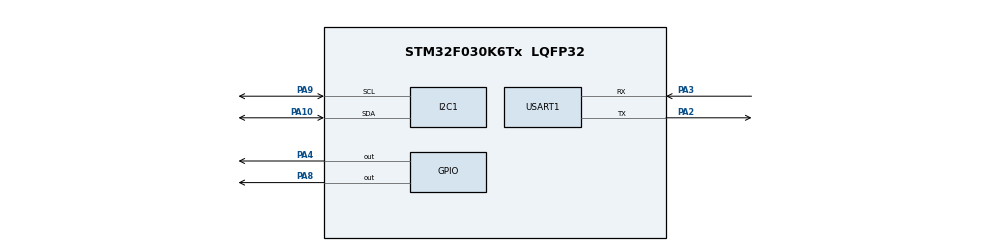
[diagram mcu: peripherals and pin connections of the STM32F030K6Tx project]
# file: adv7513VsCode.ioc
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I2C1.Timing=0x00201D2B
Mcu.Family=STM32F0
Mcu.Name=STM32F030K6Tx
Mcu.Package=LQFP32
PA10.Mode=I2C
PA10.Signal=I2C1_SDA
PA2.Mode=Asynchronous
PA2.Signal=USART1_TX
PA3.Mode=Asynchronous
PA3.Signal=USART1_RX
PA4.Signal=GPIO_Output
PA8.Signal=GPIO_Output
PA9.Mode=I2C
PA9.Signal=I2C1_SCL
ProjectManager.HeapSize=0x200
ProjectManager.StackSize=0x400
ProjectManager.TargetToolchain=Makefile
USART1.VirtualMode-Asynchronous=VM_ASYNC
board=custom

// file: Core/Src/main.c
/* USER CODE BEGIN Header */
/**
  ******************************************************************************
  * @file           : main.c
  * @brief          : Main program body
  ******************************************************************************
  * @attention
  *
  * Copyright (c) 2026 STMicroelectronics.
  * All rights reserved.
  *
  * This software is licensed under terms that can be found in the LICENSE file
  * in the root directory of this software component.
  * If no LICENSE file comes with this software, it is provided AS-IS.
  *
  ******************************************************************************
  */
/* USER CODE END Header */
#include "main.h"
#include <stdio.h>

/* USER CODE BEGIN PD */
#define ADV7513_ADDR  0x72

//Fixed Registers That Must Be Set

#define PLL_0_ADDR 0x98
#define PLL_0_VAL  0x03

#define PLL_1_ADDR 0x9A
#define PLL_1_VAL  0xE0

#define PLL_2_ADDR 0x9C
#define PLL_2_VAL  0x30

#define PLL_3_ADDR 0x9D
#define PLL_3_VAL  0x01

#define PLL_4_ADDR 0xA2
#define PLL_4_VAL  0xA4

#define PLL_5_ADDR 0xA3
#define PLL_5_VAL  0xA4

#define PLL_6_ADDR 0xE0
#define PLL_6_VAL  0xD0

#define PLL_7_ADDR 0xF9
#define PLL_7_VAL  0x00

// RGB888 -> HDMI INIT

#define VIDEO_INPUT_ADDR   0x15
#define VIDEO_INPUT_VAL    0x00

#define OUTPUT_FORMAT_ADDR 0x16
#define OUTPUT_FORMAT_VAL  0x30

#define POLARITY_ADDR      0x17
#define POLARITY_VAL       0x00

#define POWER_UP_ADDR      0x41
#define POWER_UP_VAL       0x10

#define TMDS_OUTPUT_ADDR   0x40
#define TMDS_OUTPUT_ENABLE 0x80

#define MODE_ADDR          0xAF
#define MODE_DVI_ENABLE    0x00
#define MODE_HDMI_ENABLE   0x02

#define AVI_INFOFRAME_ADDR 0x55
#define AVI_INFOFRAME_VAL  0x10   // RGB 4:4:4

#define AVI_ASPECT_ADDR    0x56
#define AVI_ASPECT_VAL     0x20   // 16:9
#define AUTO_CKSUM_ADDR    0x4A
#define AUTO_CKSUM_VAL     0x80   // Auto Checksum Enable

// --- Определения для ADV7513 ---
#define ADV7513_MAIN_ADDR        0x72  // Основной I2C адрес ADV7513
#define ADV7513_EDID_MEM_ADDR    0x7E  // Адрес внутренней памяти EDID (по умолчанию)
#define EDID_BLOCK_SIZE          256   // Размер одного сегмента в байтах

// --- Регистры ADV7513 (Main Map) ---
#define REG_EDID_SEGMENT         0xC4  // Регистр выбора сегмента EDID
#define REG_EDID_RDY_FLAG        0x96  // Регистр флага готовности EDID
#define REG_EDID_MEM_ADDR        0x43  // Регистр адреса памяти EDID

/* USER CODE END PD */

I2C_HandleTypeDef hi2c1;

UART_HandleTypeDef huart1;

void SystemClock_Config(void);
static void MX_GPIO_Init(void);
static void MX_I2C1_Init(void);
static void MX_USART1_UART_Init(void);
void ADV7513_Full_Diagnostics(void);
void ADV7513_Read_Interrupts(void);
HAL_StatusTypeDef ADV7513_ReadEDIDSegment(I2C_HandleTypeDef *hi2c_dev, uint8_t segment, uint8_t *edid_buffer, uint32_t timeout_ms);

int main(void)
{

  /* MCU Configuration--------------------------------------------------------*/

  /* Reset of all peripherals, Initializes the Flash interface and the Systick. */
  HAL_Init();

  /* Configure the system clock */
  SystemClock_Config();

  /* USER CODE BEGIN SysInit */
  HAL_Delay(200);
  /* USER CODE END SysInit */

  /* Initialize all configured peripherals */
  MX_GPIO_Init();
  MX_I2C1_Init();
  MX_USART1_UART_Init();
  /* USER CODE BEGIN 2 */
  uint8_t edid_data[EDID_BLOCK_SIZE];
  ADV7513_PowerInit();
  ADV7513_HDMI_Init();

  // ADV7513_WriteVerifyReg(0xD6, 0x80, "HPD ON");
  // ADV7513_WriteVerifyReg(0x41, 0x00, "POWER TX ON");
  // uint8_t read_val = 0;
  // HAL_StatusTypeDef status = HAL_I2C_Mem_Read(&hi2c1, ADV7513_ADDR, 0x3E, I2C_MEMADD_SIZE_8BIT, &read_val, 1, HAL_MAX_DELAY);
  // // if(read_val== 0){
  // //   Error_Handler();
  // // }

  // status = HAL_I2C_Mem_Read(&hi2c1, ADV7513_ADDR, 0x17, I2C_MEMADD_SIZE_8BIT, &read_val, 1, HAL_MAX_DELAY);
  // if(read_val==0){
  //   Error_Handler();
  // }

  ADV7513_ReadEDIDSegment(&hi2c1,0, edid_data, HAL_MAX_DELAY);

  ADV7513_Full_Diagnostics();
  /* USER CODE END 2 */

  /* Infinite loop */
    while (1)
  {
     /* USER CODE BEGIN WHILE */

      // ADV7513_Read_Interrupts();
      __WFI();

    /* USER CODE END WHILE */

  }

}

void SystemClock_Config(void)
{
  RCC_OscInitTypeDef RCC_OscInitStruct = {0};
  RCC_ClkInitTypeDef RCC_ClkInitStruct = {0};
  RCC_PeriphCLKInitTypeDef PeriphClkInit = {0};

  /** Initializes the RCC Oscillators according to the specified parameters
  * in the RCC_OscInitTypeDef structure.
  */
  RCC_OscInitStruct.OscillatorType = RCC_OSCILLATORTYPE_HSI;
  RCC_OscInitStruct.HSIState = RCC_HSI_ON;
  RCC_OscInitStruct.HSICalibrationValue = RCC_HSICALIBRATION_DEFAULT;
  RCC_OscInitStruct.PLL.PLLState = RCC_PLL_NONE;
  if (HAL_RCC_OscConfig(&RCC_OscInitStruct) != HAL_OK)
  {
    Error_Handler();
  }

  /** Initializes the CPU, AHB and APB buses clocks
  */
  RCC_ClkInitStruct.ClockType = RCC_CLOCKTYPE_HCLK|RCC_CLOCKTYPE_SYSCLK
                              |RCC_CLOCKTYPE_PCLK1;
  RCC_ClkInitStruct.SYSCLKSource = RCC_SYSCLKSOURCE_HSI;
  RCC_ClkInitStruct.AHBCLKDivider = RCC_SYSCLK_DIV1;
  RCC_ClkInitStruct.APB1CLKDivider = RCC_HCLK_DIV1;

  if (HAL_RCC_ClockConfig(&RCC_ClkInitStruct, FLASH_LATENCY_0) != HAL_OK)
  {
    Error_Handler();
  }
  PeriphClkInit.PeriphClockSelection = RCC_PERIPHCLK_USART1|RCC_PERIPHCLK_I2C1;
  PeriphClkInit.Usart1ClockSelection = RCC_USART1CLKSOURCE_PCLK1;
  PeriphClkInit.I2c1ClockSelection = RCC_I2C1CLKSOURCE_HSI;
  if (HAL_RCCEx_PeriphCLKConfig(&PeriphClkInit) != HAL_OK)
  {
    Error_Handler();
  }
}

static void MX_I2C1_Init(void)
{

  hi2c1.Instance = I2C1;
  hi2c1.Init.Timing = 0x00201D2B;
  hi2c1.Init.OwnAddress1 = 0;
  hi2c1.Init.AddressingMode = I2C_ADDRESSINGMODE_7BIT;
  hi2c1.Init.DualAddressMode = I2C_DUALADDRESS_DISABLE;
  hi2c1.Init.OwnAddress2 = 0;
  hi2c1.Init.OwnAddress2Masks = I2C_OA2_NOMASK;
  hi2c1.Init.GeneralCallMode = I2C_GENERALCALL_DISABLE;
  hi2c1.Init.NoStretchMode = I2C_NOSTRETCH_DISABLE;
  if (HAL_I2C_Init(&hi2c1) != HAL_OK)
  {
    Error_Handler();
  }

  /** Configure Analogue filter
  */
  if (HAL_I2CEx_ConfigAnalogFilter(&hi2c1, I2C_ANALOGFILTER_ENABLE) != HAL_OK)
  {
    Error_Handler();
  }

  /** Configure Digital filter
  */
  if (HAL_I2CEx_ConfigDigitalFilter(&hi2c1, 0) != HAL_OK)
  {
    Error_Handler();
  }

}

static void MX_USART1_UART_Init(void)
{

  huart1.Instance = USART1;
  huart1.Init.BaudRate = 115200;
  huart1.Init.WordLength = UART_WORDLENGTH_8B;
  huart1.Init.StopBits = UART_STOPBITS_1;
  huart1.Init.Parity = UART_PARITY_NONE;
  huart1.Init.Mode = UART_MODE_TX_RX;
  huart1.Init.HwFlowCtl = UART_HWCONTROL_NONE;
  huart1.Init.OverSampling = UART_OVERSAMPLING_16;
  huart1.Init.OneBitSampling = UART_ONE_BIT_SAMPLE_DISABLE;
  huart1.AdvancedInit.AdvFeatureInit = UART_ADVFEATURE_NO_INIT;
  if (HAL_UART_Init(&huart1) != HAL_OK)
  {
    Error_Handler();
  }

}

static void MX_GPIO_Init(void)
{
  GPIO_InitTypeDef GPIO_InitStruct = {0};

  /* GPIO Ports Clock Enable */
  __HAL_RCC_GPIOA_CLK_ENABLE();

  /*Configure GPIO pin Output Level */
  HAL_GPIO_WritePin(GPIOA, GPIO_PIN_4|GPIO_PIN_8, GPIO_PIN_RESET);

  /*Configure GPIO pins : PA4 PA8 */
  GPIO_InitStruct.Pin = GPIO_PIN_4|GPIO_PIN_8;
  GPIO_InitStruct.Mode = GPIO_MODE_OUTPUT_PP;
  GPIO_InitStruct.Pull = GPIO_NOPULL;
  GPIO_InitStruct.Speed = GPIO_SPEED_FREQ_LOW;
  HAL_GPIO_Init(GPIOA, &GPIO_InitStruct);

}

void ADV7513_Read_Interrupts(void)
{
    uint8_t interruptReg = 0;

    if(HAL_I2C_Mem_Read(&hi2c1, ADV7513_ADDR, 0x96, I2C_MEMADD_SIZE_8BIT, &interruptReg, 1, HAL_MAX_DELAY) != HAL_OK)
    {
        Error_Handler();
    }

    // Проверка бита VSYNC (бит 5)
    if((interruptReg >> 5) & 1)   // исправлено: добавлены скобки и &1
    {
        ADV7513_WriteVerifyReg(0x96, 0x00, "CLEAR_VSYNC_INT");
    }
}

/* USER CODE BEGIN 4 */
void ADV7513_Full_Diagnostics(void)
{
    uint8_t reg;
    char buf[80];

    HAL_UART_Transmit(&huart1, (uint8_t*)"\n=== ADV7513 FULL DIAGNOSTICS ===\n", 34, HAL_MAX_DELAY);

    // 1. Power status
    HAL_I2C_Mem_Read(&hi2c1, ADV7513_ADDR, 0x41, I2C_MEMADD_SIZE_8BIT, &reg, 1, HAL_MAX_DELAY);
    sprintf(buf, "0x41 Power     : 0x%02X  (Power-Up = %d)\n", reg, (reg & 0x10) ? 1 : 0);
    HAL_UART_Transmit(&huart1, (uint8_t*)buf, strlen(buf), HAL_MAX_DELAY);

    // 2. HPD и RxSense (самое важное)
    HAL_I2C_Mem_Read(&hi2c1, ADV7513_ADDR, 0x42, I2C_MEMADD_SIZE_8BIT, &reg, 1, HAL_MAX_DELAY);
    sprintf(buf, "0x42 Status    : 0x%02X  HPD=%d  RxSense=%d\n",
            reg, (reg>>6)&1, (reg>>5)&1);
    HAL_UART_Transmit(&huart1, (uint8_t*)buf, strlen(buf), HAL_MAX_DELAY);

    // 3. PLL Lock + Input Status
    HAL_I2C_Mem_Read(&hi2c1, ADV7513_ADDR, 0x9E, I2C_MEMADD_SIZE_8BIT, &reg, 1, HAL_MAX_DELAY);
    sprintf(buf, "0x9E PLL+Input : 0x%02X  PLL Locked=%d\n", reg, (reg>>4)&1);
    HAL_UART_Transmit(&huart1, (uint8_t*)buf, strlen(buf), HAL_MAX_DELAY);

    // 4. TMDS Status
    HAL_I2C_Mem_Read(&hi2c1, ADV7513_ADDR, 0xA0, I2C_MEMADD_SIZE_8BIT, &reg, 1, HAL_MAX_DELAY);
    sprintf(buf, "0xA0 TMDS Status: 0x%02X\n", reg);
    HAL_UART_Transmit(&huart1, (uint8_t*)buf, strlen(buf), HAL_MAX_DELAY);

    // 5. TMDS Power
    HAL_I2C_Mem_Read(&hi2c1, ADV7513_ADDR, 0xA1, I2C_MEMADD_SIZE_8BIT, &reg, 1, HAL_MAX_DELAY);
    sprintf(buf, "0xA1 TMDS Power : 0x%02X\n", reg);
    HAL_UART_Transmit(&huart1, (uint8_t*)buf, strlen(buf), HAL_MAX_DELAY);

    // 6. DDC Controller State (очень важно!)
    HAL_I2C_Mem_Read(&hi2c1, ADV7513_ADDR, 0xC8, I2C_MEMADD_SIZE_8BIT, &reg, 1, HAL_MAX_DELAY);
    uint8_t ddc = reg & 0x0F;
    const char* states[] = {
        "In Reset (No HPD)",
        "Reading EDID",
        "IDLE (EDID Ready)",
        "Initializing HDCP",
        "HDCP Enabled",
        "Initializing HDCP Repeater"
    };
    sprintf(buf, "0xC8 DDC State : 0x%02X  (%s)\n", reg, (ddc <= 5) ? states[ddc] : "Unknown");
    HAL_UART_Transmit(&huart1, (uint8_t*)buf, strlen(buf), HAL_MAX_DELAY);

    // 7. Detected VIC (очень важно!)
    HAL_I2C_Mem_Read(&hi2c1, ADV7513_ADDR, 0x3E, I2C_MEMADD_SIZE_8BIT, &reg, 1, HAL_MAX_DELAY);
    sprintf(buf, "0x3E Detected VIC: 0x%02X  (VIC = %d)\n", reg, (reg >> 2) & 0x3F);
    HAL_UART_Transmit(&huart1, (uint8_t*)buf, strlen(buf), HAL_MAX_DELAY);

    HAL_UART_Transmit(&huart1, (uint8_t*)"================================\n\n", 33, HAL_MAX_DELAY);
}

void ADV7513_PowerInit(void)
{
    // 1. Power Up
    ADV7513_WriteVerifyReg(0x41, 0x10, "POWER_UP");
    HAL_Delay(200);

    // 2. Fixed PLL registers + High Frequency mode
    ADV7513_WriteVerifyReg(0x98, 0x03, "PLL0");
    ADV7513_WriteVerifyReg(0x9A, 0xE0, "PLL1");
    ADV7513_WriteVerifyReg(0x9C, 0x30, "PLL2");
    ADV7513_WriteVerifyReg(0x9D, 0x61, "PLL3_HighFreq");   // важно для 40 МГц
    ADV7513_WriteVerifyReg(0xA2, 0xA4, "PLL4");
    ADV7513_WriteVerifyReg(0xA3, 0xA4, "PLL5");
    ADV7513_WriteVerifyReg(0xE0, 0xD0, "PLL6");
    ADV7513_WriteVerifyReg(0xF9, 0x00, "PLL7");

    // ADV7513_WriteVerifyReg(0x15, 0x05, "RGB888-DDR-ON");
    // ADV7513_WriteVerifyReg(0xD0, 0x3C, "NO SYNC PULSE");
    uint8_t reg = 0;

    HAL_I2C_Mem_Read(&hi2c1, ADV7513_ADDR, 0x9E, I2C_MEMADD_SIZE_8BIT, &reg, 1, HAL_MAX_DELAY);
    if(!((reg>>4)&1)){
      Error_Handler();
    }
    HAL_GPIO_TogglePin(GPIOA, GPIO_PIN_8);
}

void ADV7513_HDMI_Init(void)
{

    // // // ========== 3. Рекомендованные ADI регистры ==========
    ADV7513_WriteVerifyReg(0x99, 0x02, "ADI_RECOMMENDED");
    ADV7513_WriteVerifyReg(0xA5, 0x44, "ADI_RECOMMENDED");
    ADV7513_WriteVerifyReg(0xAB, 0x40, "ADI_RECOMMENDED");
    ADV7513_WriteVerifyReg(0xD1, 0xFF, "ADI_RECOMMENDED");
    ADV7513_WriteVerifyReg(0xFA, 0x7D, "ADI_RECOMMENDED");
    ADV7513_WriteVerifyReg(0x49, 0xA8, "must be set to default");
    ADV7513_WriteVerifyReg(0x4C, 0x00, "must be set to default");
    ADV7513_WriteVerifyReg(0x4B, 0x80, "Clear_AVMute");   // обязательно
    ADV7513_WriteVerifyReg(0xDE, 0x10, "TMDS_CLK_DRIVER_ON"); //default

    // // // ========== 4. Настройка видеоформата ==========
    ADV7513_WriteVerifyReg(0x15, 0x00, "RGB888_4:4:4");
    ADV7513_WriteVerifyReg(0x16, 0x60, "Output_Format_444_8bit");
    ADV7513_WriteVerifyReg(0x18, 0x46, "CSC_Disabled");    // исправлено
    // //точно верно
    // // // ========== 5. Полярности (зависит от вашего LTDC) ==========
    ADV7513_WriteVerifyReg(0x17, 0x60, "HS VS AL 4:3");
    // // // ========== 6. Включение TMDS выхода ==========
    ADV7513_WriteVerifyReg(0x40, 0x80, "TMDS_ENABLE");  // GC packet enabled
    // // // ========== 7. Режим HDMI и AVI InfoFrame ==========

      ADV7513_WriteVerifyReg(0xAF, 0x02, "HDMI ON");
      ADV7513_WriteVerifyReg(0x44, 0x10," AVI PACKET ENABLE");
      ADV7513_WriteVerifyReg(0x55, 0x00, "AVI");

    // // ========== 8. Задержка такта (опционально) ==========
    // ADV7513_WriteVerifyReg(0xBA, 0x60, "CLOCK_DELAY_0ns");
    // ========== 9. Управление тактовым драйвером TMDS ==========
    // Регистр 0xDE, бит 3 = 0 для включения clock driver

}

HAL_StatusTypeDef ADV7513_ReadEDIDSegment(I2C_HandleTypeDef *hi2c_dev, uint8_t segment, uint8_t *edid_buffer, uint32_t timeout_ms)
{
    uint8_t reg_data = 0;
    uint32_t tickstart = HAL_GetTick();

    // --- 1. Сброс флага готовности EDID ---
    // Читаем регистр 0x96, чтобы убедиться, что флаг готовности сброшен.
    if (HAL_I2C_Mem_Read(hi2c_dev, ADV7513_MAIN_ADDR, REG_EDID_RDY_FLAG, I2C_MEMADD_SIZE_8BIT, &reg_data, 1, HAL_MAX_DELAY) != HAL_OK) {
        return HAL_ERROR;
    }

    // --- 2. Запрос нового сегмента EDID ---
    // Записываем номер нужного сегмента в регистр 0xC4.
    // Это действие инициирует процесс чтения EDID мастером ADV7513.
    reg_data = segment;
    if (HAL_I2C_Mem_Write(hi2c_dev, ADV7513_MAIN_ADDR, REG_EDID_SEGMENT, I2C_MEMADD_SIZE_8BIT, &reg_data, 1, HAL_MAX_DELAY) != HAL_OK) {
        return HAL_ERROR;
    }

    // --- 3. Ожидание готовности данных (опрос флага EDID_RDY)---
    // Циклически проверяем бит 2 (EDID_RDY) в регистре 0x96.
    while ((HAL_GetTick() - tickstart) < timeout_ms) {
        if (HAL_I2C_Mem_Read(hi2c_dev, ADV7513_MAIN_ADDR, REG_EDID_RDY_FLAG, I2C_MEMADD_SIZE_8BIT, &reg_data, 1, HAL_MAX_DELAY) != HAL_OK) {
            return HAL_ERROR;
        }
        // Если флаг установлен, данные готовы
        if (reg_data & (1 << 2)) {
            break;
        }
    }

    // Проверка, не истекло ли время ожидания
    if ((HAL_GetTick() - tickstart) >= timeout_ms) {
        Error_Handler();
    }

    // --- 4. Чтение данных из EDID-памяти ADV7513 ---
    // Данные успешно загружены чипом. Теперь читаем их по адресу 0x7E.
    if (HAL_I2C_Mem_Read(hi2c_dev, ADV7513_EDID_MEM_ADDR, 0x00, I2C_MEMADD_SIZE_8BIT, edid_buffer, EDID_BLOCK_SIZE, HAL_MAX_DELAY) != HAL_OK) {
        Error_Handler();
    }

    return HAL_OK;
}

void ADV7513_WriteVerifyReg(uint8_t reg_addr, uint8_t reg_value, const char* reg_name)
{
    HAL_StatusTypeDef status;
    uint8_t write_val = reg_value;
    uint8_t read_val = 0;

    // Запись
    status = HAL_I2C_Mem_Write(&hi2c1, ADV7513_ADDR, reg_addr, I2C_MEMADD_SIZE_8BIT, &write_val, 1, HAL_MAX_DELAY);
    if(status != HAL_OK) {
        HAL_UART_Transmit(&huart1, (uint8_t*)reg_name, strlen(reg_name), HAL_MAX_DELAY);
        HAL_UART_Transmit(&huart1, (uint8_t*)" Write ERROR\n", 13, HAL_MAX_DELAY);
        Error_Handler();
    }

    // Чтение
    status = HAL_I2C_Mem_Read(&hi2c1, ADV7513_ADDR, reg_addr, I2C_MEMADD_SIZE_8BIT, &read_val, 1, HAL_MAX_DELAY);
    if(status != HAL_OK) {
        HAL_UART_Transmit(&huart1, (uint8_t*)reg_name, strlen(reg_name), HAL_MAX_DELAY);
        HAL_UART_Transmit(&huart1, (uint8_t*)" Read ERROR\n", 12, HAL_MAX_DELAY);
        Error_Handler();
    }

    // Проверка
    if(read_val != reg_value) {
        HAL_UART_Transmit(&huart1, (uint8_t*)reg_name, strlen(reg_name), HAL_MAX_DELAY);
        HAL_UART_Transmit(&huart1, (uint8_t*)" Verify FAIL\n", 13, HAL_MAX_DELAY);
        Error_Handler();
    } else {
        HAL_UART_Transmit(&huart1, (uint8_t*)reg_name, strlen(reg_name), HAL_MAX_DELAY);
        HAL_UART_Transmit(&huart1, (uint8_t*)" => OK\n", 7, HAL_MAX_DELAY);
    }
}

void Error_Handler(void)
{
  /* USER CODE BEGIN Error_Handler_Debug */
  /* User can add his own implementation to report the HAL error return state */
  __disable_irq();
  HAL_GPIO_WritePin(GPIOA, GPIO_PIN_8, GPIO_PIN_RESET);
  while (1)
  {
    // HAL_GPIO_TogglePin(GPIOA, GPIO_PIN_8);
    // HAL_Delay(250);
  }
  /* USER CODE END Error_Handler_Debug */
}
